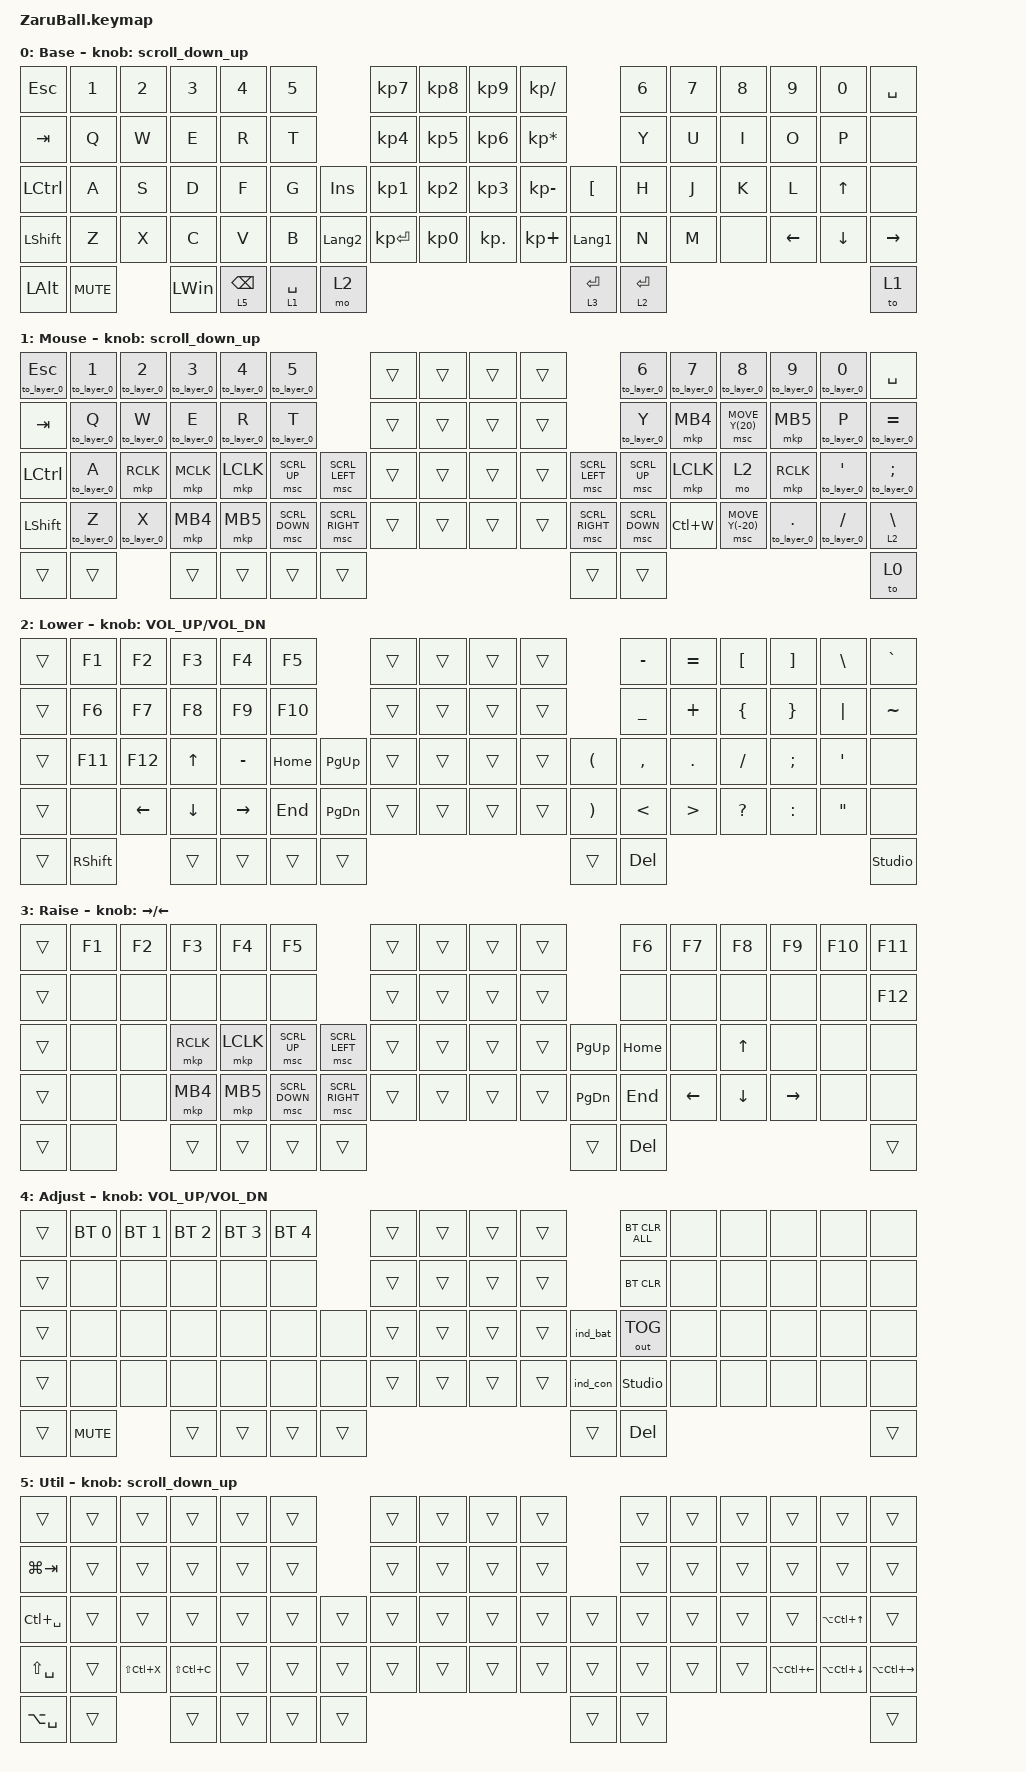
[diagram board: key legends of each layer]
//#include <dt-bindings/zmk/mouse.h>

#include <behaviors/rgbled_widget.dtsi>
#include <behaviors/naginata.dtsi>
#include <behaviors.dtsi>
#include <dt-bindings/zmk/bt.h>
#include <dt-bindings/zmk/keys.h>
#include <dt-bindings/zmk/outputs.h>
#include <dt-bindings/zmk/pointing.h>

#define BASE     0
#define MOUSE    1
#define LOWER    2
#define RAISE    3
#define ADJUST   4
#define SCROLL   2
#define UTIL     5

// スクロール量の設定

#define ZMK_POINTING_DEFAULT_SCRL_VAL 80

/ {
    conditional_layers {
        compatible = "zmk,conditional-layers";

        tri_layer {
            if-layers = <2 3>;
            then-layer = <4>;
        };
    };
};

/ {
    behaviors {
        // スクロール用のbehaviorの設定

        scroll_down_up: behavior_sensor_rotate_mouse_wheel_down_up {
            compatible = "zmk,behavior-sensor-rotate";
            #sensor-binding-cells = <0>;
            bindings = <&msc SCRL_DOWN>, <&msc SCRL_UP>;

            tap-ms = <20>; // スクロールのタップ時間
        };

        td0: tap_dance_0 {
            compatible = "zmk,behavior-tap-dance";
            #binding-cells = <0>;
            tapping-term-ms = <200>;
            bindings = <&mt LALT LANG2>, <&mo 3>, <&mo 1>;
        };

        td1: tap_dance_1 {
            compatible = "zmk,behavior-tap-dance";
            #binding-cells = <0>;
            tapping-term-ms = <200>;
            bindings = <&mt RCTL LANG1>, <&mo 3>, <&mo 1>;
        };

        // Customed Hold-Tap for SandS

        SandS: SandS {
            compatible = "zmk,behavior-hold-tap";
            #binding-cells = <2>;
            flavor = "tap-unless-interrupted";
            tapping-term-ms = <500>;
            quick-tap-ms = <500>;
            bindings = <&kp>, <&kp>;

            display-name = "SandS";
        };
    };
};

&sl { release-after-ms = <250>; }; // time needed for double click (for mkp_exit_AML)
/ {
    macros {
        // When in AML, move to default layer when key (except mouse button) pressed

        to_layer_0: to_layer_0 {
            compatible = "zmk,behavior-macro-one-param";
            #binding-cells = <1>;
            bindings = <&tog 1 &macro_param_1to1 &kp MACRO_PLACEHOLDER>;
            label = "TO_layer_0";
        };

        // When LCLK pressed, exit AML (after 250ms cause by sticky layer

        mkp_exit_AML: mkp_exit_AML {
            compatible = "zmk,behavior-macro-one-param";
            #binding-cells = <1>;
            bindings =
                <&macro_press>,
                <&macro_param_1to1 &mkp MACRO_PLACEHOLDER>,
                <&macro_pause_for_release>,
                <&macro_release>,
                <&macro_param_1to1 &mkp MACRO_PLACEHOLDER>,
                <&macro_tap>,
                <&sl 1>;

            label = "MKP_EXIT_AML";
        };
    };
};

/ {
    keymap {
        compatible = "zmk,keymap";

        base_layer {
            display-name = "Base";
            sensor-bindings = <&scroll_down_up>;
            bindings = <
&kp ESC       &kp N1      &kp N2  &kp N3    &kp N4           &kp N5                         &kp KP_N7     &kp KP_N8  &kp KP_N9   &kp KP_DIVIDE                      &kp NUMBER_6  &kp N7  &kp N8  &kp N9    &kp N0    &kp SPACE
&kp TAB       &kp Q       &kp W   &kp E     &kp R            &kp T                          &kp KP_N4     &kp KP_N5  &kp KP_N6   &kp KP_MULTIPLY                    &kp Y         &kp U   &kp I   &kp O     &kp P     &none
&kp LCTRL     &kp A       &kp S   &kp D     &kp F            &kp G        &kp INS           &kp KP_N1     &kp KP_N2  &kp KP_N3   &kp KP_MINUS       &kp LBKT        &kp H         &kp J   &kp K   &kp L     &kp UP    &none
&kp LSHFT     &kp Z       &kp X   &kp C     &kp V            &kp B        &kp LANGUAGE_2    &kp KP_ENTER  &kp KP_N0  &kp KP_DOT  &kp KP_PLUS        &kp LANGUAGE_1  &kp N         &kp M   &none   &kp LEFT  &kp DOWN  &kp RIGHT
&kp LEFT_ALT  &kp C_MUTE          &kp LWIN  &lt 5 BACKSPACE  &lt 1 SPACE  &mo 2                                                                     &lt 3 RET       &lt 2 ENTER                                       &to 1
            >;
        };

        mouse_layer {
            display-name = "Mouse";
            sensor-bindings = <&scroll_down_up>;
            bindings = <
&to_layer_0 ESC  &to_layer_0 N1  &to_layer_0 N2  &to_layer_0 N3  &to_layer_0 N4  &to_layer_0 N5                     &trans  &trans  &trans  &trans                     &to_layer_0 N6  &to_layer_0 N7  &to_layer_0 N8    &to_layer_0 N9      &to_layer_0 N0            &kp SPACE
&kp TAB          &to_layer_0 Q   &to_layer_0 W   &to_layer_0 E   &to_layer_0 R   &to_layer_0 T                      &trans  &trans  &trans  &trans                     &to_layer_0 Y   &mkp MB4        &msc MOVE_Y(20)   &mkp MB5            &to_layer_0 P             &to_layer_0 EQUAL
&kp LCTRL        &to_layer_0 A   &mkp RCLK       &mkp MCLK       &mkp LCLK       &msc SCRL_UP    &msc SCRL_LEFT     &trans  &trans  &trans  &trans    &msc SCRL_LEFT   &msc SCRL_UP    &mkp LCLK       &mo 2             &mkp RCLK           &to_layer_0 SINGLE_QUOTE  &to_layer_0 SEMICOLON
&kp LEFT_SHIFT   &to_layer_0 Z   &to_layer_0 X   &mkp MB4        &mkp MB5        &msc SCRL_DOWN  &msc SCRL_RIGHT    &trans  &trans  &trans  &trans    &msc SCRL_RIGHT  &msc SCRL_DOWN  &kp LC(W)       &msc MOVE_Y(-20)  &to_layer_0 PERIOD  &to_layer_0 SLASH         &lt 2 BACKSLASH
&trans           &trans                          &trans          &trans          &trans          &trans                                               &trans           &trans                                                                                          &to 0
            >;
        };

        lower_layer {
            display-name = "Lower";
            sensor-bindings = <&inc_dec_kp C_VOL_UP C_VOL_DN>;
            bindings = <
&trans  &kp F1     &kp F2    &kp F3    &kp F4     &kp F5                 &trans  &trans  &trans  &trans              &kp MINUS       &kp EQUAL         &kp LEFT_BRACKET  &kp RIGHT_BRACKET  &kp BACKSLASH      &kp GRAVE
&trans  &kp F6     &kp F7    &kp F8    &kp F9     &kp F10                &trans  &trans  &trans  &trans              &kp UNDERSCORE  &kp PLUS          &kp LEFT_BRACE    &kp RIGHT_BRACE    &kp PIPE           &kp TILDE
&trans  &kp F11    &kp F12   &kp UP    &kp MINUS  &kp HOME  &kp PG_UP    &trans  &trans  &trans  &trans    &kp LPAR  &kp COMMA       &kp PERIOD        &kp SLASH         &kp SEMICOLON      &kp SQT            &none
&trans  &none      &kp LEFT  &kp DOWN  &kp RIGHT  &kp END   &kp PG_DN    &trans  &trans  &trans  &trans    &kp RPAR  &kp LESS_THAN   &kp GREATER_THAN  &kp QUESTION      &kp COLON          &kp DOUBLE_QUOTES  &none
&trans  &kp RSHFT            &trans    &trans     &trans    &trans                                         &trans    &kp DEL                                                                                   &studio_unlock
            >;
        };

        raise_layer {
            display-name = "Raise";
            sensor-bindings = <&inc_dec_kp RIGHT LEFT>;
            bindings = <
&trans  &kp F1  &kp F2  &kp F3     &kp F4     &kp F5                             &trans  &trans  &trans  &trans               &kp F6    &kp F7    &kp F8    &kp F9     &kp F10  &kp F11
&trans  &none   &none   &none      &none      &none                              &trans  &trans  &trans  &trans               &none     &none     &none     &none      &none    &kp F12
&trans  &none   &none   &mkp RCLK  &mkp LCLK  &msc SCRL_UP    &msc SCRL_LEFT     &trans  &trans  &trans  &trans    &kp PG_UP  &kp HOME  &none     &kp UP    &none      &none    &none
&trans  &none   &none   &mkp MB4   &mkp MB5   &msc SCRL_DOWN  &msc SCRL_RIGHT    &trans  &trans  &trans  &trans    &kp PG_DN  &kp END   &kp LEFT  &kp DOWN  &kp RIGHT  &none    &none
&trans  &none           &trans     &trans     &trans          &trans                                               &trans     &kp DEL                                           &trans
            >;
        };

        adjust_layer {
            display-name = "Adjust";
            sensor-bindings = <&inc_dec_kp C_VOL_UP C_VOL_DN>;
            bindings = <
&trans  &bt BT_SEL 0  &bt BT_SEL 1  &bt BT_SEL 2  &bt BT_SEL 3  &bt BT_SEL 4            &trans  &trans  &trans  &trans              &bt BT_CLR_ALL  &none  &none  &none  &none  &none
&trans  &none         &none         &none         &none         &none                   &trans  &trans  &trans  &trans              &bt BT_CLR      &none  &none  &none  &none  &none
&trans  &none         &none         &none         &none         &none         &none     &trans  &trans  &trans  &trans    &ind_bat  &out OUT_TOG    &none  &none  &none  &none  &none
&trans  &none         &none         &none         &none         &none         &none     &trans  &trans  &trans  &trans    &ind_con  &studio_unlock  &none  &none  &none  &none  &none
&trans  &kp C_MUTE                  &trans        &trans        &trans        &trans                                      &trans    &kp DEL                                     &trans
            >;
        };

        // Extra layer can be added in ZMK STUDIO

        util_layer {
            display-name = "Util";
            sensor-bindings = <&scroll_down_up>;
            bindings = <
&trans         &trans  &trans         &trans         &trans  &trans            &trans  &trans  &trans  &trans            &trans  &trans  &trans  &trans            &trans            &trans
&kp LG(TAB)    &trans  &trans         &trans         &trans  &trans            &trans  &trans  &trans  &trans            &trans  &trans  &trans  &trans            &trans            &trans
&kp LC(SPACE)  &trans  &trans         &trans         &trans  &trans  &trans    &trans  &trans  &trans  &trans    &trans  &trans  &trans  &trans  &trans            &kp LA(LC(UP))    &trans
&kp LS(SPACE)  &trans  &kp LS(LC(X))  &kp LS(LC(C))  &trans  &trans  &trans    &trans  &trans  &trans  &trans    &trans  &trans  &trans  &trans  &kp LA(LC(LEFT))  &kp LA(LC(DOWN))  &kp LA(LC(RIGHT))
&kp LA(SPACE)  &trans                 &trans         &trans  &trans  &trans                                      &trans  &trans                                                      &trans
            >;
        };
    };
};
